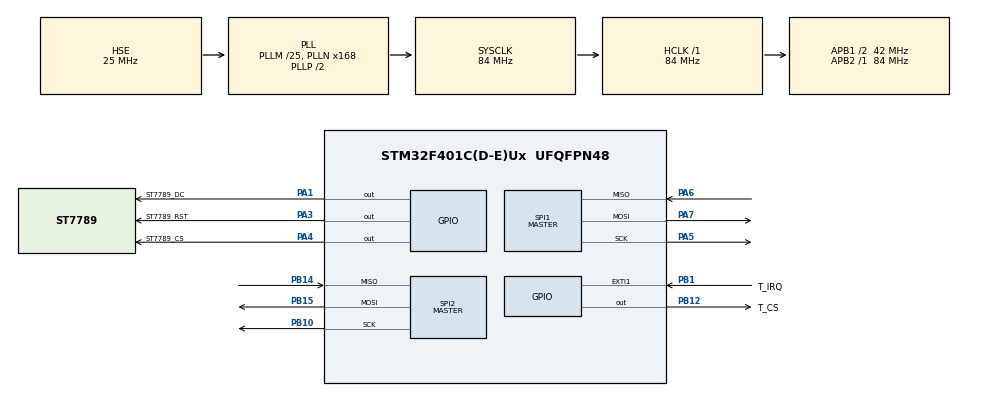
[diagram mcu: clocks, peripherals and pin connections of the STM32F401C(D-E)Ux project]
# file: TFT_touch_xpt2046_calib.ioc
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Dma.Request0=SPI1_TX
Dma.SPI1_TX.0.Direction=DMA_MEMORY_TO_PERIPH
Dma.SPI1_TX.0.FIFOMode=DMA_FIFOMODE_DISABLE
Dma.SPI1_TX.0.Instance=DMA2_Stream3
Dma.SPI1_TX.0.MemDataAlignment=DMA_MDATAALIGN_BYTE
Dma.SPI1_TX.0.MemInc=DMA_MINC_ENABLE
Dma.SPI1_TX.0.Mode=DMA_NORMAL
Dma.SPI1_TX.0.PeriphDataAlignment=DMA_PDATAALIGN_BYTE
Dma.SPI1_TX.0.PeriphInc=DMA_PINC_DISABLE
Dma.SPI1_TX.0.Priority=DMA_PRIORITY_LOW
Mcu.Family=STM32F4
Mcu.Name=STM32F401C(D-E)Ux
Mcu.Package=UFQFPN48
NVIC.DMA2_Stream3_IRQn=true\:0\:0\:false\:false\:true\:false\:true\:true
NVIC.PriorityGroup=NVIC_PRIORITYGROUP_4
PA1.GPIO_Label=ST7789_DC
PA1.GPIO_ModeDefaultOutputPP=GPIO_MODE_OUTPUT_OD
PA1.GPIO_PuPd=GPIO_NOPULL
PA1.GPIO_Speed=GPIO_SPEED_FREQ_HIGH
PA1.Signal=GPIO_Output
PA13.Mode=Serial_Wire
PA13.Signal=SYS_JTMS-SWDIO
PA14.Mode=Serial_Wire
PA14.Signal=SYS_JTCK-SWCLK
PA3.GPIO_Label=ST7789_RST
PA3.GPIO_ModeDefaultOutputPP=GPIO_MODE_OUTPUT_OD
PA3.GPIO_PuPd=GPIO_NOPULL
PA3.GPIO_Speed=GPIO_SPEED_FREQ_HIGH
PA3.Signal=GPIO_Output
PA4.GPIO_Label=ST7789_CS
PA4.GPIO_ModeDefaultOutputPP=GPIO_MODE_OUTPUT_OD
PA4.GPIO_PuPd=GPIO_NOPULL
PA4.GPIO_Speed=GPIO_SPEED_FREQ_HIGH
PA4.Signal=GPIO_Output
PA5.Mode=Full_Duplex_Master
PA5.Signal=SPI1_SCK
PA6.Mode=Full_Duplex_Master
PA6.Signal=SPI1_MISO
PA7.Mode=Full_Duplex_Master
PA7.Signal=SPI1_MOSI
PB1.GPIO_Label=T_IRQ
PB1.Signal=GPXTI1
PB10.Mode=Full_Duplex_Master
PB10.Signal=SPI2_SCK
PB12.GPIO_Label=T_CS
PB12.GPIO_ModeDefaultOutputPP=GPIO_MODE_OUTPUT_OD
PB12.GPIO_PuPd=GPIO_NOPULL
PB12.GPIO_Speed=GPIO_SPEED_FREQ_VERY_HIGH
PB12.Signal=GPIO_Output
PB14.Mode=Full_Duplex_Master
PB14.Signal=SPI2_MISO
PB15.Mode=Full_Duplex_Master
PB15.Signal=SPI2_MOSI
PH0\ -\ OSC_IN.Mode=HSE-External-Oscillator
PH0\ -\ OSC_IN.Signal=RCC_OSC_IN
PH1\ -\ OSC_OUT.Mode=HSE-External-Oscillator
PH1\ -\ OSC_OUT.Signal=RCC_OSC_OUT
ProjectManager.HeapSize=0x200
ProjectManager.StackSize=0x400
ProjectManager.TargetToolchain=STM32CubeIDE
RCC.48MHZClocksFreq_Value=42000000
RCC.AHBFreq_Value=84000000
RCC.APB1CLKDivider=RCC_HCLK_DIV2
RCC.APB1Freq_Value=42000000
RCC.APB1TimFreq_Value=84000000
RCC.APB2Freq_Value=84000000
RCC.APB2TimFreq_Value=84000000
RCC.CortexFreq_Value=84000000
RCC.HCLKFreq_Value=84000000
RCC.HSE_VALUE=25000000
RCC.HSI_VALUE=16000000
RCC.LSE_VALUE=32768
RCC.PLLM=25
RCC.PLLN=168
RCC.PLLSourceVirtual=RCC_PLLSOURCE_HSE
RCC.SYSCLKFreq_VALUE=84000000
RCC.SYSCLKSource=RCC_SYSCLKSOURCE_PLLCLK
RCC.VCOOutputFreq_Value=168000000
SPI1.BaudRatePrescaler=SPI_BAUDRATEPRESCALER_4
SPI1.CLKPhase=SPI_PHASE_1EDGE
SPI1.CLKPolarity=SPI_POLARITY_HIGH
SPI1.Direction=SPI_DIRECTION_2LINES
SPI1.Mode=SPI_MODE_MASTER
SPI1.VirtualType=VM_MASTER
SPI2.BaudRatePrescaler=SPI_BAUDRATEPRESCALER_8
SPI2.DataSize=SPI_DATASIZE_16BIT
SPI2.Direction=SPI_DIRECTION_2LINES
SPI2.Mode=SPI_MODE_MASTER
SPI2.VirtualType=VM_MASTER
board=custom

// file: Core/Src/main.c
/* USER CODE BEGIN Header */
/**
  ******************************************************************************
  * @file           : main.c
  * @brief          : Main program body of TFT_touch_xpt2046 to calib screen
  ******************************************************************************
  * @attention
  *
  * Copyright (c) 2024 STMicroelectronics.
  * All rights reserved.
  *
  * This software is licensed under terms that can be found in the LICENSE file
  * in the root directory of this software component.
  * If no LICENSE file comes with this software, it is provided AS-IS.
  *
  ******************************************************************************
  */
/* USER CODE END Header */
#include "main.h"

/* USER CODE BEGIN Includes */
#include <stdio.h>
#include "st7789.h"
#include "xpt2046.h"
#include "cnn.h"
#include "constants.h"
/* USER CODE END Includes */

SPI_HandleTypeDef hspi1;
SPI_HandleTypeDef hspi2;
DMA_HandleTypeDef hdma_spi1_tx;

void SystemClock_Config(void);
static void MX_GPIO_Init(void);
static void MX_DMA_Init(void);
static void MX_SPI1_Init(void);
static void MX_SPI2_Init(void);

/* USER CODE BEGIN 0 */
void clearCNNinput(volatile float *in_mat)
{
	uint8_t i = 0;
	uint8_t j = 0;
	for (i = 0; i < INPUT_SIZE; i++)
	{
		for (j = 0; j < INPUT_SIZE; j ++)
		{
			uint16_t in_mat_idx = i * INPUT_SIZE + j;
			in_mat[in_mat_idx] = 0;
		}
	}
}

void resetButtonPressed(volatile float* cnn_input, volatile uint16_t coordinate_x, volatile uint16_t coordinate_y)
{
	if ((coordinate_x > 157 && coordinate_x < 208) &&
		(coordinate_y >  23 && coordinate_y <  43))
	{
		ST7789_DrawFilledRectangle(10, 90, 220, 220, WHITE);
		ST7789_DrawFilledRectangle(10, 10, 28, 28, WHITE);
		HAL_Delay(100);
		ST7789_WriteString(45, 10, "Predicted: _", Font_7x10, RED, WHITE);
		ST7789_WriteString(45, 25, "Conf.: _____", Font_7x10, RED, WHITE);
		clearCNNinput(cnn_input);
	}
}

void drawInterface()
{
	// Turn screen Black
//	ST7789_InvertColors(ST7789_INVOFF);
	ST7789_Fill_Color(WHITE);
	HAL_Delay(500);
//	ST7789_WriteString(10, 20, "Touch Test", Font_11x18, RED, WHITE);
//	HAL_Delay(500);

	// Draw resset button
	ST7789_DrawFilledRectangle(158, 8, 59, 22, BLACK);
	ST7789_WriteString(160, 10, "RESET", Font_11x18, CYAN, BLACK);// 160~226 - 20~38

	// Draw CNN button
	ST7789_DrawFilledRectangle(158, 38, 59, 22, BLACK);
	ST7789_WriteString(160, 40, " CNN ", Font_11x18, CYAN, BLACK);// 160~226 - 20~38

	// Minimap border
	ST7789_DrawRectangle(8, 8, 40, 40, BLACK);
	ST7789_WriteString(8, 45, "CNN input:", Font_7x10, RED, WHITE);
	ST7789_WriteString(45, 10, "Predicted: _", Font_7x10, RED, WHITE);
	ST7789_WriteString(45, 25, "Conf.: _____", Font_7x10, RED, WHITE);

	// Draw drawing border
	ST7789_DrawRectangle(8, 88, 232, 312, BLACK);
}

void drawMinimap(volatile float *in_mat)
{
	// (x1, y1) = (10, 10)
	uint8_t i = 0;
	uint8_t j = 0;
	uint16_t in_mat_idx = 0;

	// Loop through matrix and draw pixels
	for (i = 0; i < INPUT_SIZE; i++)
	{
		for (j = 0; j < INPUT_SIZE; j++)
		{
			in_mat_idx = i * INPUT_SIZE + j;  // Calculate the index once per loop
			uint16_t color = (in_mat[in_mat_idx] == 0) ? WHITE : RED; // Determine color
			ST7789_DrawPixel(10 + i, 10 + j, color);  // Draw pixel with selected color
		}
	}
}

/* USER CODE END 0 */

int main(void)
{

  /* MCU Configuration--------------------------------------------------------*/

  /* Reset of all peripherals, Initializes the Flash interface and the Systick. */
  HAL_Init();

  /* Configure the system clock */
  SystemClock_Config();

  /* Initialize all configured peripherals */
  MX_GPIO_Init();
  MX_DMA_Init();
  MX_SPI1_Init();
  MX_SPI2_Init();
  /* USER CODE BEGIN 2 */
  ST7789_Init();

  xpt2046_spi(&hspi2);
  xpt2046_init();
  /* USER CODE END 2 */

  /* Infinite loop */
  /* USER CODE BEGIN WHILE */
//  ST7789_Test();
  char print_string[30];
  uint8_t change_flag = 0;
  volatile uint16_t coordinate_x = 0;
  volatile uint16_t coordinate_y = 0;
  volatile float cnn_input[INPUT_SIZE * INPUT_SIZE];	// to store CNN input
	for (uint16_t i = 0; i < INPUT_SIZE; i++)
	{
		for (uint16_t j = 0; j < INPUT_SIZE; j++)
		{
			uint16_t in_mat_idx = i * INPUT_SIZE + j;  // Calculate the index once per loop
			cnn_input[in_mat_idx] = 0;
		}
	}

  drawInterface();
  while (1)
  {
	uint16_t pre_coordinate_x = coordinate_x;
	uint16_t pre_coordinate_y = coordinate_y;
	xpt2046_read_position(&coordinate_x, &coordinate_y);
	if (coordinate_x == 0 && coordinate_y == 0)
	{
		// do smt
		if (change_flag != 0)
		{
			ST7789_DrawFilledRectangle(38, 66, 60, 10, WHITE);
			sprintf(print_string,"x = 0");
			ST7789_WriteString(10, 66, print_string, Font_7x10, RED, WHITE);
			HAL_Delay(50);
			ST7789_DrawFilledRectangle(38, 78, 60, 9, WHITE);
			sprintf(print_string,"y = 0");
			ST7789_WriteString(10, 78, print_string, Font_7x10, RED, WHITE);
			HAL_Delay(50);
			change_flag = 0;
		}
	}
	else
	{
		// update screen
		sprintf(print_string,"x = %d", coordinate_x);
		ST7789_WriteString(10, 66, print_string, Font_7x10, RED, WHITE);
//		HAL_Delay(100);
		sprintf(print_string,"y = %d", coordinate_y );
		ST7789_WriteString(10, 78, print_string, Font_7x10, RED, WHITE);
//		HAL_Delay(100);
		change_flag = 1;
	}

//	// Draw function
	if (
			// bounding of draw box
			(coordinate_x >  25 && coordinate_x < 221) &&
			(coordinate_y > 108 && coordinate_y < 307) &&
			// prevent jumping in value
			(coordinate_x < pre_coordinate_x + 10) && (coordinate_x > pre_coordinate_x - 10) &&
			(coordinate_y < pre_coordinate_y + 10) && (coordinate_y > pre_coordinate_y - 10)
		)
	{
		ST7789_DrawFilledRectangle(coordinate_x - 4, coordinate_y - 4, 8, 8, RED);

		// update input mat
		uint8_t cnn_input_idx_x = (coordinate_x - 25)/ 7;
		uint8_t cnn_input_idx_y = (coordinate_y - 108)/ 7;
		// make the input bolder - enlarge the input to 4 pixel
		uint16_t cnn_input_index00 = cnn_input_idx_x * INPUT_SIZE + cnn_input_idx_y;
		uint16_t cnn_input_index01 = (cnn_input_idx_x - 1) * INPUT_SIZE + cnn_input_idx_y - 1;
		uint16_t cnn_input_index02 = (cnn_input_idx_x - 1) * INPUT_SIZE + cnn_input_idx_y;
		uint16_t cnn_input_index03 = (cnn_input_idx_x - 1) * INPUT_SIZE + cnn_input_idx_y + 1;
		uint16_t cnn_input_index04 = cnn_input_idx_x * INPUT_SIZE + cnn_input_idx_y - 1;
		uint16_t cnn_input_index05 = cnn_input_idx_x * INPUT_SIZE + cnn_input_idx_y + 1;
		uint16_t cnn_input_index06 = (cnn_input_idx_x + 1) * INPUT_SIZE + cnn_input_idx_y - 1;
		uint16_t cnn_input_index07 = (cnn_input_idx_x + 1) * INPUT_SIZE + cnn_input_idx_y;
		uint16_t cnn_input_index08 = (cnn_input_idx_x + 1) * INPUT_SIZE + cnn_input_idx_y + 1;

		if (cnn_input_index00 < INPUT_SIZE * INPUT_SIZE)
		{
		    cnn_input[cnn_input_index00] = 1.0f;
		}

		if (cnn_input_index01 < INPUT_SIZE * INPUT_SIZE)
		{
			cnn_input[cnn_input_index01] = 0.5f;
		}

		if (cnn_input_index02 < INPUT_SIZE * INPUT_SIZE)
		{
			cnn_input[cnn_input_index02] = 1.0f;
		}

		if (cnn_input_index03 < INPUT_SIZE * INPUT_SIZE)
		{
			cnn_input[cnn_input_index03] = 0.5f;
		}

		if (cnn_input_index04 < INPUT_SIZE * INPUT_SIZE)
		{
			cnn_input[cnn_input_index04] = 1.0f;
		}

		if (cnn_input_index05 < INPUT_SIZE * INPUT_SIZE)
		{
			cnn_input[cnn_input_index05] = 1.0f;
		}

		if (cnn_input_index06 < INPUT_SIZE * INPUT_SIZE)
		{
			cnn_input[cnn_input_index06] = 0.5f;
		}

		if (cnn_input_index07 < INPUT_SIZE * INPUT_SIZE)
		{
			cnn_input[cnn_input_index07] = 1.0f;
		}

		if (cnn_input_index08 < INPUT_SIZE * INPUT_SIZE)
		{
			cnn_input[cnn_input_index08] = 0.5f;
		}
	}

	// CNN button:
	if ((coordinate_x > 157 && coordinate_x < 208) &&
			(coordinate_y >  59 && coordinate_y <  71))
	{
		volatile uint8_t predicted_num = 0;
		volatile float predicted_num_confidence = 0.0;

		float cnn_input_flip[INPUT_SIZE * INPUT_SIZE];
		uint16_t in_mat_idx_flip = 0;
		uint16_t in_mat_idx = 0;

		for (int i = 0; i < INPUT_SIZE; i++)
		{
			for (int j = 0; j < INPUT_SIZE; j++)
			{
				in_mat_idx_flip = j * INPUT_SIZE + i;  // Calculate the index once per loop
				in_mat_idx = i * INPUT_SIZE + j;  // Calculate the index once per loop
				cnn_input_flip[in_mat_idx_flip] = cnn_input[in_mat_idx];
			}
		}

		feedforward(cnn_input, &predicted_num, &predicted_num_confidence);

		sprintf(print_string,"Predicted: %d", predicted_num);
		ST7789_WriteString(45, 10, print_string, Font_7x10, RED, WHITE);
		sprintf(print_string,"Conf.: %.3f", predicted_num_confidence);
		ST7789_WriteString(45, 25, print_string, Font_7x10, RED, WHITE);
	}

	// draw mini drawin plane
	drawMinimap(cnn_input);

	// Reset button
	resetButtonPressed(cnn_input,  coordinate_x, coordinate_y);
    /* USER CODE END WHILE */

  }
}

void SystemClock_Config(void)
{
  RCC_OscInitTypeDef RCC_OscInitStruct = {0};
  RCC_ClkInitTypeDef RCC_ClkInitStruct = {0};

  /** Configure the main internal regulator output voltage
  */
  __HAL_RCC_PWR_CLK_ENABLE();
  __HAL_PWR_VOLTAGESCALING_CONFIG(PWR_REGULATOR_VOLTAGE_SCALE2);

  /** Initializes the RCC Oscillators according to the specified parameters
  * in the RCC_OscInitTypeDef structure.
  */
  RCC_OscInitStruct.OscillatorType = RCC_OSCILLATORTYPE_HSE;
  RCC_OscInitStruct.HSEState = RCC_HSE_ON;
  RCC_OscInitStruct.PLL.PLLState = RCC_PLL_ON;
  RCC_OscInitStruct.PLL.PLLSource = RCC_PLLSOURCE_HSE;
  RCC_OscInitStruct.PLL.PLLM = 25;
  RCC_OscInitStruct.PLL.PLLN = 168;
  RCC_OscInitStruct.PLL.PLLP = RCC_PLLP_DIV2;
  RCC_OscInitStruct.PLL.PLLQ = 4;
  if (HAL_RCC_OscConfig(&RCC_OscInitStruct) != HAL_OK)
  {
    Error_Handler();
  }

  /** Initializes the CPU, AHB and APB buses clocks
  */
  RCC_ClkInitStruct.ClockType = RCC_CLOCKTYPE_HCLK|RCC_CLOCKTYPE_SYSCLK
                              |RCC_CLOCKTYPE_PCLK1|RCC_CLOCKTYPE_PCLK2;
  RCC_ClkInitStruct.SYSCLKSource = RCC_SYSCLKSOURCE_PLLCLK;
  RCC_ClkInitStruct.AHBCLKDivider = RCC_SYSCLK_DIV1;
  RCC_ClkInitStruct.APB1CLKDivider = RCC_HCLK_DIV2;
  RCC_ClkInitStruct.APB2CLKDivider = RCC_HCLK_DIV1;

  if (HAL_RCC_ClockConfig(&RCC_ClkInitStruct, FLASH_LATENCY_2) != HAL_OK)
  {
    Error_Handler();
  }
}

static void MX_SPI1_Init(void)
{

  /* SPI1 parameter configuration*/
  hspi1.Instance = SPI1;
  hspi1.Init.Mode = SPI_MODE_MASTER;
  hspi1.Init.Direction = SPI_DIRECTION_2LINES;
  hspi1.Init.DataSize = SPI_DATASIZE_8BIT;
  hspi1.Init.CLKPolarity = SPI_POLARITY_HIGH;
  hspi1.Init.CLKPhase = SPI_PHASE_1EDGE;
  hspi1.Init.NSS = SPI_NSS_SOFT;
  hspi1.Init.BaudRatePrescaler = SPI_BAUDRATEPRESCALER_4;
  hspi1.Init.FirstBit = SPI_FIRSTBIT_MSB;
  hspi1.Init.TIMode = SPI_TIMODE_DISABLE;
  hspi1.Init.CRCCalculation = SPI_CRCCALCULATION_DISABLE;
  hspi1.Init.CRCPolynomial = 10;
  if (HAL_SPI_Init(&hspi1) != HAL_OK)
  {
    Error_Handler();
  }

}

static void MX_SPI2_Init(void)
{

  /* SPI2 parameter configuration*/
  hspi2.Instance = SPI2;
  hspi2.Init.Mode = SPI_MODE_MASTER;
  hspi2.Init.Direction = SPI_DIRECTION_2LINES;
  hspi2.Init.DataSize = SPI_DATASIZE_16BIT;
  hspi2.Init.CLKPolarity = SPI_POLARITY_LOW;
  hspi2.Init.CLKPhase = SPI_PHASE_1EDGE;
  hspi2.Init.NSS = SPI_NSS_SOFT;
  hspi2.Init.BaudRatePrescaler = SPI_BAUDRATEPRESCALER_8;
  hspi2.Init.FirstBit = SPI_FIRSTBIT_MSB;
  hspi2.Init.TIMode = SPI_TIMODE_DISABLE;
  hspi2.Init.CRCCalculation = SPI_CRCCALCULATION_DISABLE;
  hspi2.Init.CRCPolynomial = 10;
  if (HAL_SPI_Init(&hspi2) != HAL_OK)
  {
    Error_Handler();
  }

}

static void MX_DMA_Init(void)
{

  /* DMA controller clock enable */
  __HAL_RCC_DMA2_CLK_ENABLE();

  /* DMA interrupt init */
  /* DMA2_Stream3_IRQn interrupt configuration */
  HAL_NVIC_SetPriority(DMA2_Stream3_IRQn, 0, 0);
  HAL_NVIC_EnableIRQ(DMA2_Stream3_IRQn);

}

static void MX_GPIO_Init(void)
{
  GPIO_InitTypeDef GPIO_InitStruct = {0};

  /* GPIO Ports Clock Enable */
  __HAL_RCC_GPIOH_CLK_ENABLE();
  __HAL_RCC_GPIOA_CLK_ENABLE();
  __HAL_RCC_GPIOB_CLK_ENABLE();

  /*Configure GPIO pin Output Level */
  HAL_GPIO_WritePin(GPIOA, ST7789_DC_Pin|ST7789_RST_Pin|ST7789_CS_Pin, GPIO_PIN_RESET);

  /*Configure GPIO pin Output Level */
  HAL_GPIO_WritePin(T_CS_GPIO_Port, T_CS_Pin, GPIO_PIN_RESET);

  /*Configure GPIO pins : ST7789_DC_Pin ST7789_RST_Pin ST7789_CS_Pin */
  GPIO_InitStruct.Pin = ST7789_DC_Pin|ST7789_RST_Pin|ST7789_CS_Pin;
  GPIO_InitStruct.Mode = GPIO_MODE_OUTPUT_OD;
  GPIO_InitStruct.Pull = GPIO_NOPULL;
  GPIO_InitStruct.Speed = GPIO_SPEED_FREQ_HIGH;
  HAL_GPIO_Init(GPIOA, &GPIO_InitStruct);

  /*Configure GPIO pin : T_IRQ_Pin */
  GPIO_InitStruct.Pin = T_IRQ_Pin;
  GPIO_InitStruct.Mode = GPIO_MODE_IT_RISING;
  GPIO_InitStruct.Pull = GPIO_NOPULL;
  HAL_GPIO_Init(T_IRQ_GPIO_Port, &GPIO_InitStruct);

  /*Configure GPIO pin : T_CS_Pin */
  GPIO_InitStruct.Pin = T_CS_Pin;
  GPIO_InitStruct.Mode = GPIO_MODE_OUTPUT_OD;
  GPIO_InitStruct.Pull = GPIO_NOPULL;
  GPIO_InitStruct.Speed = GPIO_SPEED_FREQ_VERY_HIGH;
  HAL_GPIO_Init(T_CS_GPIO_Port, &GPIO_InitStruct);

}

void Error_Handler(void)
{
  __disable_irq();
  while (1)
  {
  }
}
